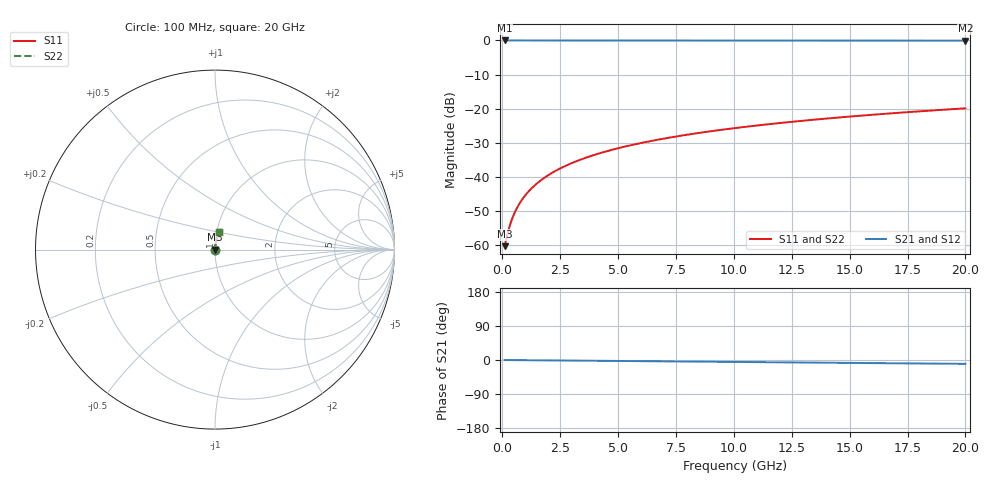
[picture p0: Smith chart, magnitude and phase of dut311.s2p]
! Touchstone file exported from HFSS 2026.1.0
!  File:  C:/ffzhzh/LocalFiles/Ansys_Project_Files/temp_train_TSV_311_1783018132_4048.aedt
!  Generated:  02:51:16 AM Jul  3, 2026
!  Design:  TSV
!  Project:  temp_train_TSV_311_1783018132_4048
! Variables:
!  h_bsmrdl = 2um
!  h_ox = 20um
!  h_rdl = 5um
!  h_sub = 82.59um
!  h_tmrdl = 5um
!  h_tsv = 82.59um
!  h_via = 3um
!  l_bsmrdl = 300um
!  l_sub = 407um
!  l_tmrdl = 200um
!  m_sub = 200um
!  pitch = 40.9um
!  r_tsv = 3.5um
!  s_tmrdl = 10um
!  w_bsmrdl = 18um
!  w_sub = 500um
!  w_tmrdl = 12um
!  x_tsv_center1 = 206um
!  x_tsv_center2 = 524um
!  x_tsv_center3 = 736um
!  x_tsv_center4 = 1054um
!  x_tsv_center5 = 1266um
!  x_tsv_center6 = 1584um
# GHz S MA R 50.000000
! Terminal data exported
! Port[1] = TSV1_1_T1
! Port[2] = TSV1_1_T2
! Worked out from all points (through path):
!   200 points, 100 MHz to 20 GHz, reference 50 ohm
!   highest |S21| = -0.01 dB at 100 MHz (marker M1); lowest = -0.1 dB at 20 GHz (marker M2)
!   group delay of S21, straight-line fit = 1.41 ps
!   lowest |S11| = -60.3 dB at 100 MHz (marker M3), VSWR 1.00, Z = 50.1 + j0.0546 ohm
!   |S11| at or under -10 dB: start of sweep to end of sweep
!   |S22| runs from -60.3 to -19.9 dB; largest |S21 - S12| = 6.8e-15
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0.1  0.0009652 34.4  0.9992 -0.1  0.9992 -0.1  0.0009652 34.4
! Gamma 0 0 0 0
! Port Impedance 50 0 50 0
0.2  0.001353 53.4  0.9992 -0.1  0.9992 -0.1  0.001353 53.4
0.3  0.001817 63.2  0.9992 -0.2  0.9992 -0.2  0.001817 63.2
0.4  0.002309 68.8  0.9992 -0.2  0.9992 -0.2  0.002309 68.8
0.5  0.002814 72.5  0.9992 -0.3  0.9992 -0.3  0.002814 72.5
0.6  0.003327 75.0  0.9992 -0.3  0.9992 -0.3  0.003327 75.0
0.8  0.004363 78.3  0.9991 -0.4  0.9991 -0.4  0.004363 78.3
1.1  0.005933 80.9  0.9991 -0.6  0.9991 -0.6  0.005933 80.9
1.5  0.008037 82.7  0.9991 -0.8  0.9991 -0.8  0.008037 82.7
1.8  0.009618 83.5  0.999 -0.9  0.999 -0.9  0.009618 83.5
2.1  0.0112 83.9  0.999 -1.1  0.999 -1.1  0.0112 83.9
2.7  0.01435 84.4  0.9988 -1.4  0.9988 -1.4  0.01435 84.4
3.5  0.01853 84.6  0.9987 -1.8  0.9987 -1.8  0.01853 84.6
4.2  0.02217 84.5  0.9985 -2.2  0.9985 -2.2  0.02217 84.5
5  0.02631 84.4  0.9983 -2.6  0.9983 -2.6  0.02631 84.4
5.9  0.03092 84.1  0.998 -3.1  0.998 -3.1  0.03092 84.1
6.8  0.03551 83.8  0.9977 -3.5  0.9977 -3.5  0.03551 83.8
8.3  0.04311 83.2  0.9972 -4.3  0.9972 -4.3  0.04311 83.2
10.1  0.05217 82.5  0.9965 -5.2  0.9965 -5.2  0.05217 82.5
13.4  0.06864 81.1  0.9952 -6.9  0.9952 -6.9  0.06864 81.1
16.7  0.08496 79.6  0.9936 -8.5  0.9936 -8.5  0.08496 79.6
20  0.1011 78.1  0.9919 -10.2  0.9919 -10.2  0.1011 78.1
